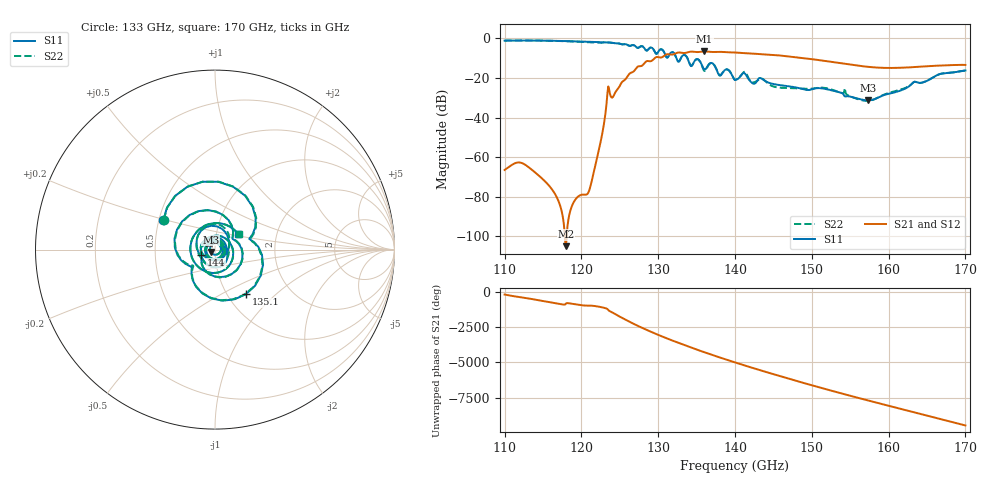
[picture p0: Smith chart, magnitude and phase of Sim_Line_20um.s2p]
! Touchstone file exported from HFSS 2020.2.4
!  File:  D:/Project/Deacon_v3/240214_MPW12_Gap_WG_Tester_D2A/Gap_WG_Tester_D2.aedt
!  Generated:  11:44:19 AM  Mar 20, 2025
!  Design:  Line
!  Project:  Gap_WG_Tester_D2
!  Setup:  Setup1
!  Solution:  Sweep
! Variables:
!  C_G = 20um
!  C_H = 0.5mm
!  Deembedding = 25.4mm
!  E_P = 133um
!  S_H1 = 260um
!  S_H2 = 13um
!  S_H3 = 8um
!  S_X = 30mm
!  S_X0 = 15mm
!  S_Y = 15mm
!  S_Y0 = 7.5mm
!  TL_G = 40um
!  TL_L = 12.1467848662796mm
!  TL_W = 240um
!  TR_L = 706.43026744077um
!  TR_L2 = 226.8691264263um
!  TR_L3 = 373.29154801399um
!  TR_P = 109.62537243288um
!  TR_W = 1597.2041747747um
!  TR_W2 = 282.226541747um
!  V_PBO = 20um
!  V_Pad = 40um
!  V_R = 20um
!  WG_L = 0.8255mm
!  WG_W = 1.651mm
!  th = 5um
!Data is not renormalized
# GHZ S MA
! Terminal data exported
! Port[1] = 1
! Port[2] = 2
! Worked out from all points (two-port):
!   601 points, 110 GHz to 170 GHz, reference per port
!   highest |S21| = -6.57 dB at 136 GHz (marker M1); lowest = -104.9 dB at 118 GHz (marker M2)
!   |S21| within 3 dB of the highest: 129.6747 GHz to 130.1596 GHz (484.9 MHz wide, 0.373 % of centre); 130.4 GHz to 148 GHz (17.56 GHz wide, 12.6 % of centre)
!   lowest |S11| = -31.3 dB at 157.3 GHz (marker M3), VSWR 1.06
!   |S11| at or under -10 dB: 132.3802 GHz to 132.9481 GHz (568 MHz wide, 0.428 % of centre); 133.8 GHz to end of sweep
!   |S22| runs from -31.5 to -1.0 dB; largest |S21 - S12| = 2.2e-14
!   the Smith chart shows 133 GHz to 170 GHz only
!   S11 on the Smith chart (normalised r, x): 133 GHz: 0.53, +0.20; 135.1 GHz: 1.22, -0.66; 144 GHz: 0.86, -0.05; 170 GHz: 1.28, +0.22
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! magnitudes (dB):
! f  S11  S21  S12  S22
! 110 GHz  -1.1  -66.4  -66.4  -1.1
! 112.4 GHz  -1.0  -63.2  -63.2  -1.0
! 116.8 GHz  -1.2  -80.2  -80.2  -1.2
! 118 GHz  -1.3  -104.9  -104.9  -1.4
! 120 GHz  -1.6  -79.0  -79.0  -1.7
! 121.2 GHz  -1.7  -74.3  -74.3  -2.0
! 122.5 GHz  -1.9  -52.2  -52.2  -2.2
! 123.6 GHz  -2.0  -25.5  -25.5  -2.1
! 130 GHz  -6.7  -9.4  -9.4  -6.7
! 133 GHz  -9.6  -7.2  -7.2  -9.6
! 135.1 GHz  -10.4  -6.9  -6.9  -10.5
! 136 GHz  -15.7  -6.6  -6.6  -16.4
! 137 GHz  -12.4  -6.8  -6.8  -12.5
! 138 GHz  -18.8  -6.7  -6.7  -18.4
! 140 GHz  -21.0  -7.1  -7.1  -21.0
! 141.2 GHz  -17.4  -7.4  -7.4  -16.9
! 142.3 GHz  -22.6  -7.6  -7.6  -22.1
! 144 GHz  -21.7  -8.1  -8.1  -21.7
! 150 GHz  -25.7  -10.4  -10.4  -25.4
! 157.3 GHz  -31.3  -14.3  -14.3  -31.5
! 160 GHz  -28.0  -14.9  -14.9  -27.5
! 170 GHz  -16.2  -13.4  -13.4  -16.1
